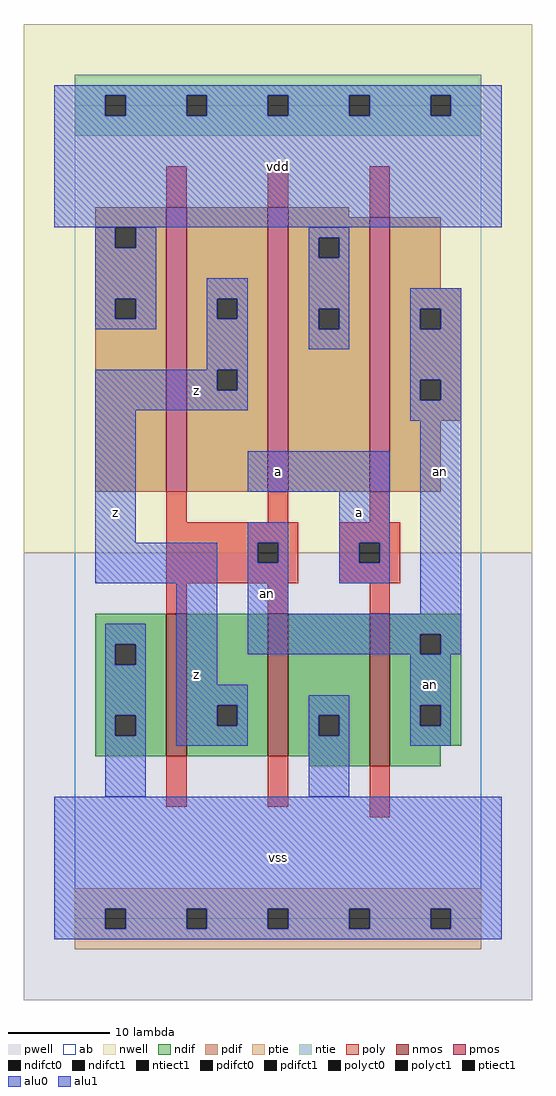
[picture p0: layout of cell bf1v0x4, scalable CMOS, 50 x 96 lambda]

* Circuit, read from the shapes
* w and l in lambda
.subckt bf1v0x4 a an vdd vss z
M1 z an vss vss nfet w=14 l=2 m=2
M2 an a vss vss nfet w=15 l=2
M3 z an vdd vdd pfet w=28 l=2 m=2
M4 an a vdd vdd pfet w=27 l=2
.ends

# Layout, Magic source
magic
tech scmos
<< ab >>
rect 0 0 40 80
<< nwell >>
rect -5 36 45 88
<< pwell >>
rect -5 -8 45 36
<< poly >>
rect 9 70 11 74
rect 19 70 21 74
rect 29 69 31 74
rect 9 39 11 42
rect 19 39 21 42
rect 29 39 31 42
rect 9 37 22 39
rect 9 35 18 37
rect 20 35 22 37
rect 9 33 22 35
rect 26 37 32 39
rect 26 35 28 37
rect 30 35 32 37
rect 26 33 32 35
rect 9 30 11 33
rect 19 30 21 33
rect 29 30 31 33
rect 9 11 11 16
rect 19 11 21 16
rect 29 10 31 15
<< ndif >>
rect 2 27 9 30
rect 2 25 4 27
rect 6 25 9 27
rect 2 20 9 25
rect 2 18 4 20
rect 6 18 9 20
rect 2 16 9 18
rect 11 21 19 30
rect 11 19 14 21
rect 16 19 19 21
rect 11 16 19 19
rect 21 20 29 30
rect 21 18 24 20
rect 26 18 29 20
rect 21 16 29 18
rect 23 15 29 16
rect 31 28 38 30
rect 31 26 34 28
rect 36 26 38 28
rect 31 21 38 26
rect 31 19 34 21
rect 36 19 38 21
rect 31 17 38 19
rect 31 15 36 17
<< pdif >>
rect 2 68 9 70
rect 2 66 4 68
rect 6 66 9 68
rect 2 61 9 66
rect 2 59 4 61
rect 6 59 9 61
rect 2 42 9 59
rect 11 61 19 70
rect 11 59 14 61
rect 16 59 19 61
rect 11 54 19 59
rect 11 52 14 54
rect 16 52 19 54
rect 11 42 19 52
rect 21 69 27 70
rect 21 67 29 69
rect 21 65 24 67
rect 26 65 29 67
rect 21 60 29 65
rect 21 58 24 60
rect 26 58 29 60
rect 21 42 29 58
rect 31 62 36 69
rect 31 60 38 62
rect 31 58 34 60
rect 36 58 38 60
rect 31 53 38 58
rect 31 51 34 53
rect 36 51 38 53
rect 31 49 38 51
rect 31 42 36 49
<< alu1 >>
rect -2 81 42 82
rect -2 79 3 81
rect 5 79 11 81
rect 13 79 19 81
rect 21 79 27 81
rect 29 79 35 81
rect 37 79 42 81
rect -2 68 42 79
rect 13 61 17 63
rect 13 59 14 61
rect 16 59 17 61
rect 13 54 17 59
rect 2 52 14 54
rect 16 52 17 54
rect 2 50 17 52
rect 2 37 6 50
rect 17 42 31 46
rect 2 33 14 37
rect 10 23 14 33
rect 26 37 31 42
rect 26 35 28 37
rect 30 35 31 37
rect 26 33 31 35
rect 10 21 17 23
rect 10 19 14 21
rect 16 19 17 21
rect 10 17 17 19
rect -2 1 42 12
rect -2 -1 3 1
rect 5 -1 11 1
rect 13 -1 19 1
rect 21 -1 27 1
rect 29 -1 35 1
rect 37 -1 42 1
rect -2 -2 42 -1
<< ptie >>
rect 0 1 40 3
rect 0 -1 3 1
rect 5 -1 11 1
rect 13 -1 19 1
rect 21 -1 27 1
rect 29 -1 35 1
rect 37 -1 40 1
rect 0 -3 40 -1
<< ntie >>
rect 0 81 40 83
rect 0 79 3 81
rect 5 79 11 81
rect 13 79 19 81
rect 21 79 27 81
rect 29 79 35 81
rect 37 79 40 81
rect 0 77 40 79
<< nmos >>
rect 9 16 11 30
rect 19 16 21 30
rect 29 15 31 30
<< pmos >>
rect 9 42 11 70
rect 19 42 21 70
rect 29 42 31 69
<< polyct0 >>
rect 18 35 20 37
<< polyct1 >>
rect 28 35 30 37
<< ndifct0 >>
rect 4 25 6 27
rect 4 18 6 20
rect 24 18 26 20
rect 34 26 36 28
rect 34 19 36 21
<< ndifct1 >>
rect 14 19 16 21
<< ntiect1 >>
rect 3 79 5 81
rect 11 79 13 81
rect 19 79 21 81
rect 27 79 29 81
rect 35 79 37 81
<< ptiect1 >>
rect 3 -1 5 1
rect 11 -1 13 1
rect 19 -1 21 1
rect 27 -1 29 1
rect 35 -1 37 1
<< pdifct0 >>
rect 4 66 6 68
rect 4 59 6 61
rect 24 65 26 67
rect 24 58 26 60
rect 34 58 36 60
rect 34 51 36 53
<< pdifct1 >>
rect 14 59 16 61
rect 14 52 16 54
<< alu0 >>
rect 2 66 4 68
rect 6 66 8 68
rect 2 61 8 66
rect 23 67 27 68
rect 23 65 24 67
rect 26 65 27 67
rect 2 59 4 61
rect 6 59 8 61
rect 2 58 8 59
rect 23 60 27 65
rect 23 58 24 60
rect 26 58 27 60
rect 23 56 27 58
rect 33 60 38 62
rect 33 58 34 60
rect 36 58 38 60
rect 33 53 38 58
rect 33 51 34 53
rect 36 51 38 53
rect 33 49 38 51
rect 17 37 21 39
rect 3 27 7 29
rect 3 25 4 27
rect 6 25 7 27
rect 3 20 7 25
rect 3 18 4 20
rect 6 18 7 20
rect 3 12 7 18
rect 17 35 18 37
rect 20 35 21 37
rect 17 30 21 35
rect 34 30 38 49
rect 17 28 38 30
rect 17 26 34 28
rect 36 26 38 28
rect 23 20 27 22
rect 23 18 24 20
rect 26 18 27 20
rect 23 12 27 18
rect 33 21 37 26
rect 33 19 34 21
rect 36 19 37 21
rect 33 17 37 19
<< labels >>
rlabel alu0 19 32 19 32 6 an
rlabel alu0 35 23 35 23 6 an
rlabel alu0 36 44 36 44 6 an
rlabel alu1 4 40 4 40 6 z
rlabel alu1 12 24 12 24 6 z
rlabel alu1 12 52 12 52 6 z
rlabel alu1 20 6 20 6 6 vss
rlabel alu1 28 40 28 40 6 a
rlabel alu1 20 44 20 44 6 a
rlabel alu1 20 74 20 74 6 vdd
<< end >>
